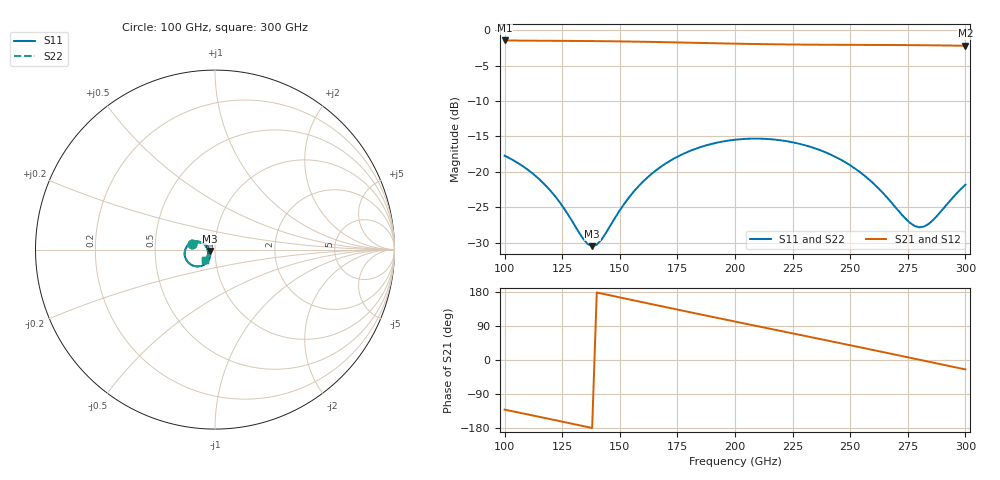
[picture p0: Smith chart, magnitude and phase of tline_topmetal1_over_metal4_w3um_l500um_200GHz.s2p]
#  GHZ S DB R 50
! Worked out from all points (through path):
!   101 points, 100 GHz to 300 GHz, reference 50 ohm
!   highest |S21| = -1.46 dB at 100 GHz (marker M1); lowest = -2.2 dB at 300 GHz (marker M2)
!   group delay of S21, straight-line fit = 3.52 ps
!   lowest |S11| = -30.5 dB at 138 GHz (marker M3), VSWR 1.06, Z = 47.2 - j0.681 ohm
!   |S11| at or under -10 dB: start of sweep to end of sweep
!   |S22| runs from -30.5 to -15.3 dB; largest |S21 - S12| = 0
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100  -17.72 166.7  -1.46 -131.0  -1.46 -131.0  -17.73 166.6
110  -19.69 157.4  -1.49 -143.6  -1.49 -143.6  -19.70 157.3
118  -21.99 152.6  -1.50 -153.7  -1.50 -153.7  -22.00 152.5
124  -24.34 152.5  -1.51 -161.4  -1.51 -161.4  -24.34 152.3
134  -29.42 172.4  -1.54 -174.2  -1.54 -174.2  -29.41 172.2
138  -30.50 -166.0  -1.55 -179.3  -1.55 -179.3  -30.50 -166.3
142  -29.59 -143.8  -1.56 175.5  -1.56 175.5  -29.60 -144.0
150  -25.44 -123.4  -1.59 165.2  -1.59 165.2  -25.45 -123.7
156  -22.82 -121.2  -1.62 157.5  -1.62 157.5  -22.83 -121.4
168  -19.25 -127.2  -1.69 142.0  -1.69 142.0  -19.26 -127.5
184  -16.63 -141.7  -1.80 121.6  -1.80 121.6  -16.64 -142.0
200  -15.48 -158.0  -1.91 101.5  -1.91 101.5  -15.49 -158.3
216  -15.42 -174.4  -2.00 81.5  -2.00 81.5  -15.43 -174.7
234  -16.61 168.3  -2.05 59.0  -2.05 59.0  -16.62 167.9
252  -19.52 154.9  -2.08 36.4  -2.08 36.4  -19.53 154.4
260  -21.62 152.5  -2.09 26.3  -2.09 26.3  -21.63 152.0
268  -24.37 156.3  -2.10 16.1  -2.10 16.1  -24.39 155.7
276  -27.22 173.7  -2.12 5.9  -2.12 5.9  -27.25 173.1
280  -27.84 -171.1  -2.13 0.8  -2.13 0.8  -27.87 -171.7
282  -27.73 -163.0  -2.13 -1.8  -2.13 -1.8  -27.77 -163.6
286  -26.80 -149.0  -2.15 -6.9  -2.15 -6.9  -26.83 -149.6
300  -21.81 -132.3  -2.21 -24.8  -2.21 -24.8  -21.84 -132.8
